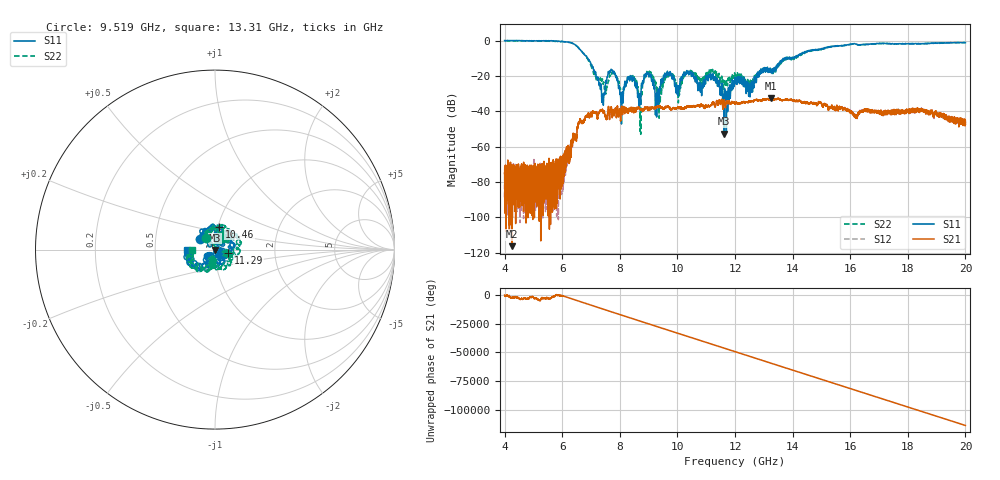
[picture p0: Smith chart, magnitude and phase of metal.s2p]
[Version] 2.0
! Rohde & Schwarz Vector Network Analyzer
! Rohde-Schwarz,ZNL20-2Port,1323001220200009,1.71.1.10-23.02.1.238
! Port Assignments:
! Nominal Port -> Actual Test Port
!  1 -> 1
!  2 -> 2
! Created: GMT+2 2025-01-17 12:02:05
# Hz S RI R 50
[Number of Ports] 2
[Two-Port Data Order] 21_12
! freq[Hz]  S11[Re]  S11[Im]  S21[Re]  S21[Im]  S12[Re]  S12[Im]  S22[Re]  S22[Im]
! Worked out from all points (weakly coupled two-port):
!   16001 points, 4 GHz to 20 GHz, reference 50 ohm
!   highest |S21| = -32.68 dB at 13.24 GHz (marker M1); lowest = -116.3 dB at 4.249 GHz (marker M2)
!   lowest |S11| = -52.7 dB at 11.62 GHz (marker M3), VSWR 1.00, Z = 50 - j0.232 ohm
!   |S11| at or under -10 dB: 6.888 GHz to 13.7 GHz (6.817 GHz wide, 66.2 % of centre); 13.7179 GHz to 13.74626 GHz (28.36 MHz wide, 0.207 % of centre); 13.94668 GHz to 13.97044 GHz (23.76 MHz wide, 0.17 % of centre) (the widest 3 of 9)
!   |S22| runs from -53.0 to 0.0 dB; largest |S21 - S12| = 0.0027
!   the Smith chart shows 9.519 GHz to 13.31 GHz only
!   S11 on the Smith chart (normalised r, x): 9.519 GHz: 0.84, +0.10; 10.46 GHz: 1.01, +0.26; 11.29 GHz: 1.16, -0.04; 13.31 GHz: 0.73, -0.00
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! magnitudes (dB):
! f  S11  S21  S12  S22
! 4 GHz  0.0  -75.1  -76.1  -0.2
! 4.249 GHz  0.0  -116.3  -90.6  -0.1
! 5.808 GHz  -0.3  -80.9  -99.3  -0.4
! 6.667 GHz  -5.9  -45.8  -45.8  -6.0
! 7.406 GHz  -30.4  -39.5  -39.3  -22.8
! 7.72 GHz  -16.9  -40.1  -40.1  -19.0
! 8.049 GHz  -40.0  -38.6  -38.4  -33.1
! 8.429 GHz  -22.9  -39.8  -39.9  -21.6
! 8.715 GHz  -34.1  -38.5  -38.5  -38.2
! 9.006 GHz  -20.5  -38.1  -37.9  -18.7
! 9.334 GHz  -27.5  -37.6  -37.6  -32.1
! 9.519 GHz  -19.6  -38.7  -38.7  -22.1
! 10.05 GHz  -25.6  -38.3  -38.0  -27.8
! 10.46 GHz  -17.7  -37.5  -37.2  -16.8
! 11.29 GHz  -22.3  -36.8  -36.6  -18.5
! 11.62 GHz  -52.7  -34.1  -34.1  -24.9
! 12 GHz  -20.8  -35.8  -35.9  -18.9
! 13.24 GHz  -18.0  -32.7  -32.8  -17.9
! 13.31 GHz  -16.2  -33.6  -33.6  -18.0
! 14.67 GHz  -5.3  -35.3  -35.2  -5.8
! 17.33 GHz  -1.7  -40.3  -40.1  -1.8
! 20 GHz  -1.2  -46.4  -47.7  -1.2
